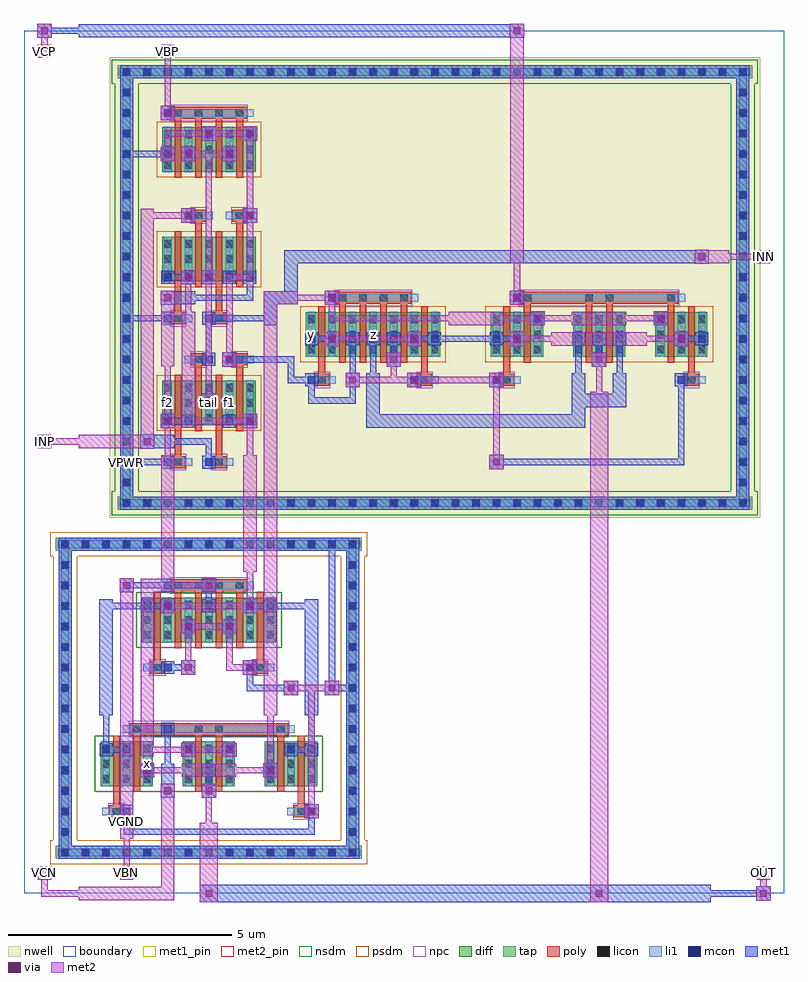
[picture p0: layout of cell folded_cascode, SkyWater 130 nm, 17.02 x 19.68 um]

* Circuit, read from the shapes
.subckt folded_cascode INN INP OUT VBN VBP VCN VCP VGND VPWR f1 f2 tail x y z
XM1 f1 VGND f1 VGND sky130_fd_pr__nfet_01v8 w=1 l=0.15 m=4
XM2 x VCN f1 VGND sky130_fd_pr__nfet_01v8 w=1 l=0.15 m=2
XM3 VGND VBN f1 VGND sky130_fd_pr__nfet_01v8 w=1 l=0.15 m=2
XM4 OUT VCN f2 VGND sky130_fd_pr__nfet_01v8 w=1 l=0.15 m=2
XM5 f2 VBN VGND VGND sky130_fd_pr__nfet_01v8 w=1 l=0.15 m=2
XM6 f2 VPWR f2 VPWR sky130_fd_pr__pfet_01v8 w=1 l=0.15 m=2
XM7 f1 VPWR f1 VPWR sky130_fd_pr__pfet_01v8 w=1 l=0.15 m=2
XM8 tail VBP VPWR VPWR sky130_fd_pr__pfet_01v8 w=1 l=0.15 m=4
XM9 tail INN f2 VPWR sky130_fd_pr__pfet_01v8 w=1 l=0.15 m=2
XM10 tail INP f1 VPWR sky130_fd_pr__pfet_01v8 w=1 l=0.15 m=2
XM11 y VPWR y VPWR sky130_fd_pr__pfet_01v8 w=1 l=0.15 m=4
XM12 VPWR x y VPWR sky130_fd_pr__pfet_01v8 w=1 l=0.15 m=2
XM13 z x VPWR VPWR sky130_fd_pr__pfet_01v8 w=1 l=0.15 m=2
XM14 x VCP y VPWR sky130_fd_pr__pfet_01v8 w=1 l=0.15 m=2
XM15 OUT VCP z VPWR sky130_fd_pr__pfet_01v8 w=1 l=0.15 m=2
.ends

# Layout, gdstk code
import gdstk
lib = gdstk.Library(unit=1e-6, precision=1e-09)
def R(c, l, rs):  # rectangles x0, y0, x1, y1
    for r in rs: c.add(gdstk.rectangle(r[:2], r[2:], *l))
def A(c, l, x, y, w, h, nx, ny, dx, dy):  # array of equal rectangles
    R(c, l, [(x+i*dx, y+j*dy, x+i*dx+w, y+j*dy+h) for i in range(nx) for j in range(ny)])
nwell = (64, 20)
diff = (65, 20)
tap = (65, 44)
poly = (66, 20)
licon = (66, 44)
li1 = (67, 20)
mcon = (67, 44)
met1_pin = (68, 16)
met1 = (68, 20)
via = (68, 44)
met2_pin = (69, 16)
met2 = (69, 20)
nsdm = (93, 44)
psdm = (94, 20)
npc = (95, 20)
boundary = (235, 4)

folded_cascode = lib.new_cell('folded_cascode')
R(folded_cascode, nwell, [(1.915,8.415,16.485,18.725)])
A(folded_cascode, diff, 1.715, 2.405, 1.17, 1, 3, 1, 1.84, 0)
A(folded_cascode, diff, 10.455, 12.02, 1.17, 1, 3, 1, 1.84, 0)
R(folded_cascode, diff, [(2.635,5.625,5.645,6.625), (3.095,10.485,5.185,11.485), (6.315,12.02,9.325,13.02), (3.095,13.705,5.185,14.705), (3.095,16.16,5.185,17.16)])
R(folded_cascode, tap, [(0.715,0.775,7.565,1.065), (0.775,0.775,1.065,7.965), (7.215,0.775,7.505,7.965), (0.715,7.675,7.565,7.965), (2.095,8.595,16.305,8.885), (2.155,8.595,2.445,18.545), (15.955,8.595,16.245,18.545), (2.095,18.255,16.305,18.545)])
A(folded_cascode, poly, 3.375, 5.495, 0.15, 1.405, 4, 1, 0.46, 0)
A(folded_cascode, poly, 7.055, 11.89, 0.15, 1.45, 4, 1, 0.46, 0)
A(folded_cascode, poly, 3.375, 16.03, 0.15, 1.45, 4, 1, 0.46, 0)
R(folded_cascode, poly, [(1.905,1.705,2.235,1.975), (6.045,1.705,6.375,1.975), (1.995,1.84,2.145,3.535), (6.135,1.84,6.285,3.535), (2.455,2.275,2.605,3.68), (3.835,2.275,3.985,3.68), (4.295,2.275,4.445,3.68), (5.675,2.275,5.825,3.68), (2.365,3.545,5.915,3.815), (2.825,4.925,3.155,5.195), (5.125,4.925,5.455,5.195), (2.915,5.06,3.065,6.755), (5.215,5.06,5.365,6.755), (3.285,6.765,4.995,7.035), (3.285,9.525,3.615,9.795), (4.205,9.525,4.535,9.795), (3.375,9.66,3.525,11.615), (4.295,9.66,4.445,11.615), (3.835,10.355,3.985,11.96), (4.755,10.355,4.905,11.96), (6.505,11.365,6.835,11.635), (8.805,11.365,9.135,11.635), (10.645,11.365,10.975,11.635), (14.785,11.365,15.115,11.635), (6.595,11.5,6.745,13.15), (8.895,11.5,9.045,13.15), (10.735,11.5,10.885,13.15), (14.875,11.5,15.025,13.15), (3.745,11.825,4.075,12.095), (4.665,11.825,4.995,12.095), (11.195,11.89,11.345,13.34), (12.575,11.89,12.725,13.34), (13.035,11.89,13.185,13.34), (14.415,11.89,14.565,13.34), (3.285,12.745,3.615,13.015), (4.205,12.745,4.535,13.015), (3.375,12.88,3.525,14.835), (4.295,12.88,4.445,14.835), (6.965,13.205,8.675,13.475), (11.105,13.205,14.655,13.475), (3.835,13.575,3.985,15.18), (4.755,13.575,4.905,15.18), (3.745,15.045,4.075,15.315), (4.665,15.045,4.995,15.315), (3.285,17.345,4.995,17.615)])
A(folded_cascode, licon, 0.835, 0.835, 0.17, 0.17, 15, 2, 0.46, 6.9)
A(folded_cascode, licon, 0.835, 1.295, 0.17, 0.17, 1, 14, 0, 0.46)
A(folded_cascode, licon, 7.275, 1.295, 0.17, 0.17, 1, 14, 0, 0.46)
A(folded_cascode, licon, 1.755, 2.48, 0.17, 0.17, 3, 3, 0.46, 0.34)
A(folded_cascode, licon, 3.595, 2.48, 0.17, 0.17, 3, 3, 0.46, 0.34)
A(folded_cascode, licon, 5.435, 2.48, 0.17, 0.17, 3, 3, 0.46, 0.34)
A(folded_cascode, licon, 2.675, 5.7, 0.17, 0.17, 7, 3, 0.46, 0.34)
A(folded_cascode, licon, 3.365, 6.815, 0.17, 0.17, 4, 2, 0.46, 10.58)
A(folded_cascode, licon, 2.215, 8.655, 0.17, 0.17, 31, 2, 0.46, 9.66)
A(folded_cascode, licon, 2.215, 9.115, 0.17, 0.17, 1, 20, 0, 0.46)
A(folded_cascode, licon, 16.015, 9.115, 0.17, 0.17, 1, 20, 0, 0.46)
A(folded_cascode, licon, 3.135, 10.56, 0.17, 0.17, 5, 3, 0.46, 0.34)
A(folded_cascode, licon, 6.355, 12.095, 0.17, 0.17, 7, 3, 0.46, 0.34)
A(folded_cascode, licon, 10.495, 12.095, 0.17, 0.17, 3, 3, 0.46, 0.34)
A(folded_cascode, licon, 12.335, 12.095, 0.17, 0.17, 3, 3, 0.46, 0.34)
A(folded_cascode, licon, 14.175, 12.095, 0.17, 0.17, 3, 3, 0.46, 0.34)
A(folded_cascode, licon, 7.045, 13.255, 0.17, 0.17, 4, 1, 0.46, 0)
A(folded_cascode, licon, 3.135, 13.78, 0.17, 0.17, 5, 3, 0.46, 0.34)
A(folded_cascode, licon, 3.135, 16.235, 0.17, 0.17, 5, 3, 0.46, 0.34)
R(folded_cascode, licon, [(1.985,1.755,2.155,1.925), (6.125,1.755,6.295,1.925), (2.445,3.595,2.615,3.765), (3.825,3.595,3.995,3.765), (4.285,3.595,4.455,3.765), (5.665,3.595,5.835,3.765), (2.905,4.975,3.075,5.145), (5.205,4.975,5.375,5.145), (3.365,9.575,3.535,9.745), (4.285,9.575,4.455,9.745), (6.585,11.415,6.755,11.585), (8.885,11.415,9.055,11.585), (10.725,11.415,10.895,11.585), (14.865,11.415,15.035,11.585), (3.825,11.875,3.995,12.045), (4.745,11.875,4.915,12.045), (3.365,12.795,3.535,12.965), (4.285,12.795,4.455,12.965), (11.185,13.255,11.355,13.425), (12.565,13.255,12.735,13.425), (13.025,13.255,13.195,13.425), (14.405,13.255,14.575,13.425), (3.825,15.095,3.995,15.265), (4.745,15.095,4.915,15.265)])
A(folded_cascode, li1, 1.755, 2.4, 0.17, 1.01, 3, 1, 0.46, 0)
A(folded_cascode, li1, 3.595, 2.4, 0.17, 1.01, 3, 1, 0.46, 0)
A(folded_cascode, li1, 5.435, 2.4, 0.17, 1.01, 3, 1, 0.46, 0)
A(folded_cascode, li1, 2.675, 5.62, 0.17, 1.01, 7, 1, 0.46, 0)
A(folded_cascode, li1, 3.135, 10.48, 0.17, 1.01, 5, 2, 0.46, 3.22)
A(folded_cascode, li1, 6.355, 12.015, 0.17, 1.01, 7, 1, 0.46, 0)
A(folded_cascode, li1, 10.495, 12.015, 0.17, 1.01, 3, 1, 0.46, 0)
A(folded_cascode, li1, 12.335, 12.015, 0.17, 1.01, 3, 1, 0.46, 0)
A(folded_cascode, li1, 14.175, 12.015, 0.17, 1.01, 3, 1, 0.46, 0)
A(folded_cascode, li1, 3.135, 16.155, 0.17, 1.01, 5, 1, 0.46, 0)
R(folded_cascode, li1, [(0.755,0.835,7.525,1.005), (0.835,0.835,1.005,7.905), (7.275,0.835,7.445,7.905), (1.755,1.755,2.385,1.925), (5.895,1.755,6.525,1.925), (2.215,3.595,6.065,3.765), (2.675,4.975,3.305,5.145), (4.975,4.975,5.605,5.145), (3.135,6.815,5.145,6.985), (0.755,7.735,7.525,7.905), (2.135,8.655,16.265,8.825), (2.215,8.655,2.385,18.485), (16.015,8.655,16.185,18.485), (3.135,9.575,3.765,9.745), (4.055,9.575,4.685,9.745), (6.355,11.415,6.985,11.585), (8.655,11.415,9.285,11.585), (10.495,11.415,11.125,11.585), (14.635,11.415,15.265,11.585), (3.595,11.875,4.225,12.045), (4.515,11.875,5.145,12.045), (3.135,12.795,3.765,12.965), (4.055,12.795,4.685,12.965), (6.815,13.255,8.825,13.425), (10.955,13.255,14.805,13.425), (3.595,15.095,4.225,15.265), (4.515,15.095,5.145,15.265), (3.135,17.395,5.145,17.565), (2.135,18.315,16.265,18.485)])
A(folded_cascode, mcon, 0.835, 0.835, 0.17, 0.17, 15, 2, 0.46, 6.9)
A(folded_cascode, mcon, 0.835, 1.295, 0.17, 0.17, 1, 14, 0, 0.46)
A(folded_cascode, mcon, 7.275, 1.295, 0.17, 0.17, 1, 14, 0, 0.46)
A(folded_cascode, mcon, 2.675, 2.675, 0.17, 0.17, 3, 1, 1.38, 0)
A(folded_cascode, mcon, 3.135, 6.355, 0.17, 0.17, 3, 1, 0.92, 0)
A(folded_cascode, mcon, 2.215, 8.655, 0.17, 0.17, 31, 2, 0.46, 9.66)
A(folded_cascode, mcon, 16.015, 9.115, 0.17, 0.17, 1, 20, 0, 0.46)
A(folded_cascode, mcon, 2.215, 9.575, 0.17, 0.17, 3, 2, 0.92, 3.22)
A(folded_cascode, mcon, 2.215, 10.035, 0.17, 0.17, 1, 6, 0, 0.46)
A(folded_cascode, mcon, 6.355, 12.335, 0.17, 0.17, 7, 1, 0.46, 0)
A(folded_cascode, mcon, 12.335, 12.335, 0.17, 0.17, 3, 1, 0.46, 0)
A(folded_cascode, mcon, 2.215, 13.255, 0.17, 0.17, 1, 4, 0, 0.46)
A(folded_cascode, mcon, 3.135, 13.715, 0.17, 0.17, 5, 1, 0.46, 0)
A(folded_cascode, mcon, 2.215, 15.095, 0.17, 0.17, 3, 1, 1.38, 0)
A(folded_cascode, mcon, 2.215, 15.555, 0.17, 0.17, 1, 6, 0, 0.46)
R(folded_cascode, mcon, [(2.215,1.755,2.385,1.925), (6.355,1.755,6.525,1.925), (1.755,3.135,1.925,3.305), (2.215,3.135,2.385,3.305), (3.595,3.135,3.765,3.305), (4.515,3.135,4.685,3.305), (5.895,3.135,6.065,3.305), (6.355,3.135,6.525,3.305), (3.135,3.595,3.305,3.765), (3.135,4.975,3.305,5.145), (4.975,4.975,5.145,5.145), (3.595,5.895,3.765,6.065), (4.515,5.895,4.685,6.065), (2.675,6.355,2.845,6.525), (5.435,6.355,5.605,6.525), (3.135,6.815,3.305,6.985), (2.215,9.115,2.385,9.285), (3.135,10.495,3.305,10.665), (3.595,10.495,3.765,10.665), (4.515,10.495,4.685,10.665), (4.975,10.495,5.145,10.665), (4.055,10.955,4.225,11.125), (6.355,11.415,6.525,11.585), (8.655,11.415,8.825,11.585), (10.495,11.415,10.665,11.585), (14.635,11.415,14.805,11.585), (4.055,11.875,4.225,12.045), (4.515,11.875,4.685,12.045), (10.495,12.335,10.665,12.505), (10.955,12.335,11.125,12.505), (14.635,12.335,14.805,12.505), (15.095,12.335,15.265,12.505), (11.415,12.795,11.585,12.965), (14.175,12.795,14.345,12.965), (6.815,13.255,6.985,13.425), (10.955,13.255,11.125,13.425), (3.135,16.475,3.305,16.645), (3.595,16.475,3.765,16.645), (4.515,16.475,4.685,16.645), (4.055,16.935,4.225,17.105), (4.975,16.935,5.145,17.105), (3.135,17.395,3.305,17.565)])
R(folded_cascode, met1_pin, [(2.23,1.31,2.37,1.91), (2.23,9.59,2.37,9.73)])
A(folded_cascode, met1, 3.06, 2.14, 0.32, 0.32, 1, 3, 0, 4.14)
A(folded_cascode, met1, 2.615, 2.615, 0.29, 0.29, 3, 1, 1.38, 0)
A(folded_cascode, met1, 3.535, 5.835, 0.29, 0.29, 1, 3, 0, 4.6)
A(folded_cascode, met1, 3.075, 6.295, 0.29, 0.29, 3, 1, 0.92, 0)
A(folded_cascode, met1, 3.995, 10.895, 0.29, 0.29, 1, 3, 0, 0.92)
A(folded_cascode, met1, 6.295, 12.275, 0.29, 0.29, 7, 1, 0.46, 0)
A(folded_cascode, met1, 12.275, 12.275, 0.29, 0.29, 3, 1, 0.46, 0)
A(folded_cascode, met1, 3.52, 13.64, 0.32, 0.32, 1, 3, 0, 1.38)
A(folded_cascode, met1, 3.075, 13.655, 0.29, 0.29, 5, 1, 0.46, 0)
R(folded_cascode, met1, [(3.94,-0.2,15.38,0.2), (3.94,-0.2,4.34,0.2), (12.68,-0.2,13.08,0.2), (16.4,-0.16,16.72,0.16), (15.11,-0.07,16.63,0.07), (0.775,0.775,7.505,1.065), (0.775,0.775,1.065,7.965), (7.215,0.775,7.505,7.965), (2.23,1.31,2.37,1.91), (2.23,1.31,6.51,1.45), (6.37,1.31,6.51,1.91), (6.28,1.68,6.6,2), (2.155,1.695,2.445,1.985), (6.295,1.695,6.585,1.985), (3.98,2.14,4.3,2.46), (3.07,2.15,3.37,2.91), (4.07,2.23,4.21,2.83), (2.6,2.6,2.92,2.92), (5.36,2.6,5.68,2.92), (3.15,2.69,3.29,3.75), (3.52,3.06,3.84,3.38), (4.44,3.06,4.76,3.38), (1.695,3.075,1.985,3.365), (2.155,3.075,2.445,3.365), (3.535,3.075,3.825,3.365), (4.455,3.075,4.745,3.365), (5.835,3.075,6.125,3.365), (6.295,3.075,6.585,3.365), (1.77,3.15,2.37,3.29), (1.77,3.15,1.91,4.21), (5.91,3.15,6.51,3.29), (6.37,3.15,6.51,4.21), (3.075,3.535,3.365,3.825), (1.69,3.99,1.99,6.59), (6.29,3.99,6.59,6.59), (5.82,4.44,6.14,4.76), (6.74,4.44,7.06,4.76), (4.99,4.53,5.13,5.13), (4.99,4.53,6.05,4.67), (6.83,4.53,6.97,7.89), (6.83,4.53,7.43,4.67), (7.29,4.53,7.43,4.67), (3.52,4.9,3.84,5.22), (4.9,4.9,5.22,5.22), (3.075,4.915,3.365,5.205), (4.915,4.915,5.205,5.205), (3.15,4.99,3.75,5.13), (3.52,5.82,3.84,6.14), (4.44,5.82,4.76,6.14), (4.455,5.835,4.745,6.125), (4.9,6.28,5.22,6.6), (2.615,6.295,2.905,6.585), (5.375,6.295,5.665,6.585), (1.77,6.37,2.83,6.51), (2.69,6.37,3.29,6.51), (4.07,6.37,4.21,6.97), (4.99,6.37,5.59,6.51), (5.45,6.37,6.51,6.51), (2.14,6.74,2.46,7.06), (3.98,6.74,4.3,7.06), (3.075,6.755,3.365,7.045), (2.23,6.83,3.29,6.97), (0.775,7.675,7.505,7.965), (6.83,7.75,6.97,7.89), (2.155,8.595,16.245,8.885), (2.155,8.595,2.445,18.545), (15.955,8.595,16.245,18.545), (10.42,9.5,10.74,9.82), (3.075,9.515,3.365,9.805), (3.995,9.515,4.285,9.805), (2.23,9.59,2.37,9.73), (2.23,9.59,3.29,9.73), (2.23,9.59,2.37,12.95), (4.07,9.59,4.21,10.19), (10.51,9.59,14.79,9.73), (14.65,9.59,14.79,11.57), (2.6,9.96,2.92,10.28), (2.61,9.97,3.37,10.27), (3.15,10.05,4.21,10.19), (4.9,10.42,5.22,10.74), (7.67,10.43,12.57,10.73), (7.67,10.43,7.97,11.65), (12.27,10.43,12.57,11.65), (3.075,10.435,3.365,10.725), (4.455,10.435,4.745,10.725), (4.915,10.435,5.205,10.725), (3.15,10.51,3.75,10.65), (4.53,10.51,5.13,10.65), (3.98,10.88,4.3,11.2), (12.27,10.89,13.49,11.19), (13.19,10.89,13.49,11.65), (6.37,10.97,6.51,11.57), (6.37,10.97,7.43,11.11), (7.29,10.97,7.43,12.49), (7.2,11.34,7.52,11.66), (8.58,11.34,8.9,11.66), (10.42,11.34,10.74,11.66), (6.295,11.355,6.585,11.645), (8.595,11.355,8.885,11.645), (10.435,11.355,10.725,11.645), (14.575,11.355,14.865,11.645), (5.91,11.43,6.05,12.03), (5.91,11.43,6.51,11.57), (7.75,11.43,7.89,12.49), (12.35,11.43,12.49,12.49), (13.27,11.43,13.41,12.49), (4.44,11.8,4.76,12.12), (8.12,11.8,8.44,12.12), (12.72,11.8,13.04,12.12), (4.455,11.815,4.745,12.105), (4.07,11.89,4.21,12.95), (4.53,11.89,6.05,12.03), (8.21,11.89,8.35,12.49), (12.81,11.89,12.95,12.49), (6.74,12.26,7.06,12.58), (8.58,12.26,8.9,12.58), (10.88,12.26,11.2,12.58), (14.56,12.26,14.88,12.58), (10.435,12.275,10.725,12.565), (10.895,12.275,11.185,12.565), (14.575,12.275,14.865,12.565), (15.035,12.275,15.325,12.565), (6.37,12.35,6.97,12.49), (8.67,12.35,9.27,12.49), (9.13,12.35,10.65,12.49), (10.51,12.35,11.11,12.49), (14.65,12.35,15.25,12.49), (11.34,12.72,11.66,13.04), (14.1,12.72,14.42,13.04), (5.37,12.73,5.67,13.49), (3.075,12.735,3.365,13.025), (11.355,12.735,11.645,13.025), (14.115,12.735,14.405,13.025), (2.23,12.81,3.29,12.95), (2.23,12.81,2.37,18.47), (4.07,12.81,5.59,12.95), (3.06,13.18,3.38,13.5), (6.74,13.18,7.06,13.5), (10.88,13.18,11.2,13.5), (3.07,13.19,3.83,13.49), (5.37,13.19,6.13,13.49), (5.83,13.19,6.13,14.41), (6.755,13.195,7.045,13.485), (10.895,13.195,11.185,13.485), (3.61,13.27,5.13,13.41), (4.99,13.27,5.13,13.87), (3.98,13.64,4.3,13.96), (3.15,13.73,3.75,13.87), (4.53,13.73,5.13,13.87), (15.02,14.1,15.34,14.42), (5.83,14.11,15.33,14.41), (4.9,15.02,5.22,15.34), (4.915,15.035,5.205,15.325), (3.06,16.4,3.38,16.72), (4.44,16.4,4.76,16.72), (3.075,16.415,3.365,16.705), (3.535,16.415,3.825,16.705), (4.455,16.415,4.745,16.705), (2.23,16.49,3.29,16.63), (3.98,16.86,4.3,17.18), (4.9,16.86,5.22,17.18), (3.995,16.875,4.285,17.165), (4.915,16.875,5.205,17.165), (3.06,17.32,3.38,17.64), (3.075,17.335,3.365,17.625), (2.155,18.255,16.245,18.545), (2.23,18.33,2.37,18.47), (0.3,19.16,0.62,19.48), (10.88,19.16,11.2,19.48), (1.23,19.17,11.19,19.47), (0.39,19.25,1.45,19.39)])
A(folded_cascode, via, 3.145, 2.225, 0.15, 0.15, 1, 3, 0, 4.14)
A(folded_cascode, via, 3.605, 13.725, 0.15, 0.15, 1, 3, 0, 1.38)
R(folded_cascode, via, [(4.065,-0.075,4.215,0.075), (12.805,-0.075,12.955,0.075), (16.485,-0.075,16.635,0.075), (6.365,1.765,6.515,1.915), (4.065,2.225,4.215,2.375), (2.685,2.685,2.835,2.835), (5.445,2.685,5.595,2.835), (3.605,3.145,3.755,3.295), (4.525,3.145,4.675,3.295), (5.905,4.525,6.055,4.675), (6.825,4.525,6.975,4.675), (3.605,4.985,3.755,5.135), (4.985,4.985,5.135,5.135), (3.605,5.905,3.755,6.055), (4.525,5.905,4.675,6.055), (4.985,6.365,5.135,6.515), (2.225,6.825,2.375,6.975), (4.065,6.825,4.215,6.975), (10.505,9.585,10.655,9.735), (2.685,10.045,2.835,10.195), (4.985,10.505,5.135,10.655), (4.065,10.965,4.215,11.115), (7.285,11.425,7.435,11.575), (8.665,11.425,8.815,11.575), (10.505,11.425,10.655,11.575), (4.525,11.885,4.675,12.035), (8.205,11.885,8.355,12.035), (12.805,11.885,12.955,12.035), (6.825,12.345,6.975,12.495), (8.665,12.345,8.815,12.495), (10.965,12.345,11.115,12.495), (14.645,12.345,14.795,12.495), (11.425,12.805,11.575,12.955), (14.185,12.805,14.335,12.955), (3.145,13.265,3.295,13.415), (6.825,13.265,6.975,13.415), (10.965,13.265,11.115,13.415), (4.065,13.725,4.215,13.875), (15.105,14.185,15.255,14.335), (4.985,15.105,5.135,15.255), (3.145,16.485,3.295,16.635), (4.525,16.485,4.675,16.635), (4.065,16.945,4.215,17.095), (4.985,16.945,5.135,17.095), (3.145,17.405,3.295,17.555), (0.385,19.245,0.535,19.395), (10.965,19.245,11.115,19.395)])
R(folded_cascode, met2_pin, [(0.31,0.31,0.61,0.61), (2.15,0.31,2.45,0.61), (16.41,0.31,16.71,0.61), (0.31,9.97,0.61,10.27), (16.41,14.11,16.71,14.41), (0.31,18.71,0.61,19.01), (3.07,18.71,3.37,19.01)])
A(folded_cascode, met2, 3.06, 2.14, 0.32, 0.32, 1, 3, 0, 4.14)
A(folded_cascode, met2, 3.52, 13.64, 0.32, 0.32, 1, 3, 0, 1.38)
R(folded_cascode, met2, [(3.94,-0.2,4.34,1.58), (3.94,-0.2,4.34,0.2), (12.68,-0.2,13.08,11.24), (12.68,-0.2,13.08,0.2), (16.4,-0.16,16.72,0.16), (1.23,-0.15,3.37,0.15), (3.07,-0.15,3.37,2.45), (0.39,-0.07,1.45,0.07), (0.39,-0.07,0.53,0.53), (16.49,-0.07,16.63,0.53), (0.31,0.31,0.61,0.61), (2.15,0.31,2.45,0.61), (16.41,0.31,16.71,0.61), (0.39,0.39,0.53,0.53), (2.23,0.39,2.37,1.45), (2.23,0.39,2.37,0.53), (16.49,0.39,16.63,0.53), (2.15,1.23,2.45,7.05), (4.07,1.31,4.21,2.37), (6.28,1.68,6.6,2), (6.37,1.77,6.51,4.67), (3.98,2.14,4.3,2.46), (2.6,2.6,2.92,2.92), (5.36,2.6,5.68,2.92), (3.53,2.61,4.75,2.91), (2.69,2.69,3.75,2.83), (4.53,2.69,5.59,2.83), (5.45,2.69,5.59,4.21), (3.52,3.06,3.84,3.38), (4.44,3.06,4.76,3.38), (2.61,3.07,2.91,7.05), (2.69,3.15,3.75,3.29), (3.61,3.15,4.67,3.29), (5.37,3.99,5.67,13.49), (5.82,4.44,6.14,4.76), (6.74,4.44,7.06,4.76), (5.91,4.53,6.97,4.67), (3.52,4.9,3.84,5.22), (4.9,4.9,5.22,5.22), (3.61,4.99,3.75,6.05), (4.53,4.99,4.67,6.05), (4.53,4.99,5.13,5.13), (3.52,5.82,3.84,6.14), (4.44,5.82,4.76,6.14), (3.61,5.91,4.67,6.05), (4.9,6.28,5.22,6.6), (3.15,6.37,5.13,6.51), (4.99,6.37,5.13,7.43), (2.14,6.74,2.46,7.06), (3.98,6.74,4.3,7.06), (2.61,6.75,3.37,7.05), (3.07,6.75,3.37,9.81), (3.15,6.83,4.21,6.97), (4.91,7.21,5.21,9.81), (10.42,9.5,10.74,9.82), (3.15,9.59,3.29,10.65), (4.99,9.59,5.13,10.65), (10.51,9.59,10.65,11.57), (2.6,9.96,2.92,10.28), (0.31,9.97,0.61,10.27), (1.23,9.97,2.91,10.27), (2.61,9.97,2.91,15.33), (0.39,10.05,1.45,10.19), (0.39,10.05,0.53,10.19), (4.9,10.42,5.22,10.74), (3.53,10.43,3.83,13.03), (3.15,10.51,3.29,12.03), (3.61,10.51,5.13,10.65), (3.98,10.88,4.3,11.2), (4.07,10.97,4.21,13.87), (12.81,10.97,12.95,12.03), (7.2,11.34,7.52,11.66), (8.58,11.34,8.9,11.66), (10.42,11.34,10.74,11.66), (7.29,11.43,8.81,11.57), (8.21,11.43,8.35,12.03), (8.67,11.43,10.65,11.57), (4.44,11.8,4.76,12.12), (8.12,11.8,8.44,12.12), (12.72,11.8,13.04,12.12), (3.07,11.81,3.37,13.49), (4.53,11.89,4.67,13.87), (6.74,12.26,7.06,12.58), (8.58,12.26,8.9,12.58), (10.88,12.26,11.2,12.58), (14.56,12.26,14.88,12.58), (11.81,12.27,13.95,12.57), (6.83,12.35,8.81,12.49), (10.97,12.35,12.03,12.49), (13.73,12.35,14.79,12.49), (11.34,12.72,11.66,13.04), (14.1,12.72,14.42,13.04), (9.51,12.73,10.73,13.03), (12.27,12.73,13.49,13.03), (3.61,12.81,3.75,13.87), (6.83,12.81,9.73,12.95), (6.83,12.81,6.97,13.41), (10.51,12.81,11.57,12.95), (11.43,12.81,12.49,12.95), (13.27,12.81,14.33,12.95), (3.06,13.18,3.38,13.5), (6.74,13.18,7.06,13.5), (10.88,13.18,11.2,13.5), (5.37,13.19,6.13,13.49), (5.91,13.27,6.97,13.41), (10.97,13.27,11.11,14.33), (3.98,13.64,4.3,13.96), (4.07,13.73,4.21,16.63), (4.53,13.73,5.13,13.87), (4.99,13.73,5.13,15.25), (15.02,14.1,15.34,14.42), (10.89,14.11,11.19,19.47), (15.03,14.11,15.79,14.41), (16.41,14.11,16.71,14.41), (15.57,14.19,16.63,14.33), (16.49,14.19,16.63,14.33), (4.9,15.02,5.22,15.34), (2.69,15.11,3.75,15.25), (4.99,15.11,5.13,17.09), (3.06,16.4,3.38,16.72), (4.44,16.4,4.76,16.72), (3.15,16.49,3.29,17.09), (3.61,16.49,4.21,16.63), (4.07,16.49,4.67,16.63), (3.98,16.86,4.3,17.18), (4.9,16.86,5.22,17.18), (3.15,16.95,4.21,17.09), (4.07,16.95,5.13,17.09), (3.06,17.32,3.38,17.64), (3.15,17.41,3.29,18.93), (0.31,18.71,0.61,19.01), (3.07,18.71,3.37,19.01), (0.39,18.79,0.53,18.93), (0.39,18.79,0.53,19.39), (3.15,18.79,3.29,18.93), (0.3,19.16,0.62,19.48), (10.88,19.16,11.2,19.48)])
R(folded_cascode, nsdm, [(1.59,2.28,6.69,3.53), (2.51,5.5,5.77,6.75), (1.97,8.47,16.43,9.01), (2.03,9.01,2.57,18.13), (15.83,9.01,16.37,18.13), (1.97,18.13,16.43,18.67)])
R(folded_cascode, psdm, [(0.59,0.65,7.69,1.19), (0.65,1.19,1.19,7.55), (7.09,1.19,7.63,7.55), (0.59,7.55,7.69,8.09), (2.97,10.36,5.31,11.61), (6.19,11.895,9.45,13.145), (10.33,11.895,15.43,13.145), (2.97,13.58,5.31,14.83), (2.97,16.035,5.31,17.285)])
R(folded_cascode, npc, [(1.885,1.655,2.255,2.025), (6.025,1.655,6.395,2.025), (2.345,3.495,5.935,3.865), (2.805,4.875,3.175,5.245), (5.105,4.875,5.475,5.245), (3.265,6.715,5.015,7.085), (3.265,9.475,3.635,9.845), (4.185,9.475,4.555,9.845), (6.485,11.315,6.855,11.685), (8.785,11.315,9.155,11.685), (10.625,11.315,10.995,11.685), (14.765,11.315,15.135,11.685), (3.725,11.775,4.095,12.145), (4.645,11.775,5.015,12.145), (3.265,12.695,3.635,13.065), (4.185,12.695,4.555,13.065), (6.945,13.155,8.695,13.525), (11.085,13.155,14.675,13.525), (3.725,14.995,4.095,15.365), (4.645,14.995,5.015,15.365), (3.265,17.295,5.015,17.665)])
R(folded_cascode, boundary, [(0,0,17.02,19.32)])
folded_cascode.add(gdstk.Label('f2', (3.22,10.985), layer=67, texttype=5))
folded_cascode.add(gdstk.Label('tail', (4.14,10.985), layer=67, texttype=5))
folded_cascode.add(gdstk.Label('f1', (4.6,10.985), layer=67, texttype=5))
folded_cascode.add(gdstk.Label('x', (2.76,2.905), layer=67, texttype=5))
folded_cascode.add(gdstk.Label('y', (6.44,12.52), layer=67, texttype=5))
folded_cascode.add(gdstk.Label('z', (7.82,12.52), layer=67, texttype=5))
folded_cascode.add(gdstk.Label('VPWR', (2.3,9.66), layer=68, texttype=5))
folded_cascode.add(gdstk.Label('VGND', (2.3,1.61), layer=68, texttype=5))
folded_cascode.add(gdstk.Label('INP', (0.46,10.12), layer=69, texttype=5))
folded_cascode.add(gdstk.Label('INN', (16.56,14.26), layer=69, texttype=5))
folded_cascode.add(gdstk.Label('VBP', (3.22,18.86), layer=69, texttype=5))
folded_cascode.add(gdstk.Label('VBN', (2.3,0.46), layer=69, texttype=5))
folded_cascode.add(gdstk.Label('VCN', (0.46,0.46), layer=69, texttype=5))
folded_cascode.add(gdstk.Label('VCP', (0.46,18.86), layer=69, texttype=5))
folded_cascode.add(gdstk.Label('OUT', (16.56,0.46), layer=69, texttype=5))
folded_cascode.add(gdstk.Label('VPWR', (2.3,9.66), layer=68, texttype=16))
folded_cascode.add(gdstk.Label('VGND', (2.3,1.61), layer=68, texttype=16))
folded_cascode.add(gdstk.Label('INP', (0.46,10.12), layer=69, texttype=16))
folded_cascode.add(gdstk.Label('INN', (16.56,14.26), layer=69, texttype=16))
folded_cascode.add(gdstk.Label('VBP', (3.22,18.86), layer=69, texttype=16))
folded_cascode.add(gdstk.Label('VBN', (2.3,0.46), layer=69, texttype=16))
folded_cascode.add(gdstk.Label('VCN', (0.46,0.46), layer=69, texttype=16))
folded_cascode.add(gdstk.Label('VCP', (0.46,18.86), layer=69, texttype=16))
folded_cascode.add(gdstk.Label('OUT', (16.56,0.46), layer=69, texttype=16))

lib.write_gds('folded_cascode.gds')
